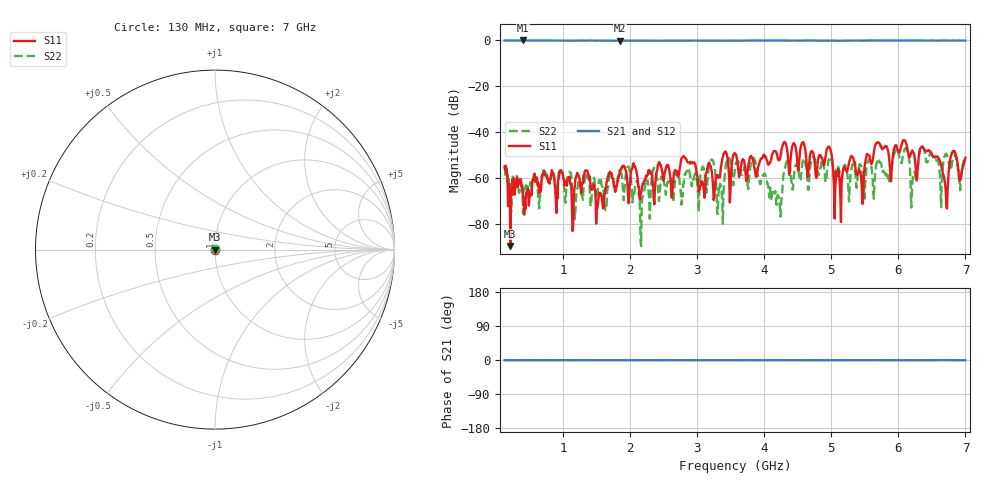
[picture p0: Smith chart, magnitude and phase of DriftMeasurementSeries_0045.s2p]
# Hz S RI R 50.000000
! Metas.Vna.Tools, 2.8.8664.20301
! Metas.Vna.Data, 2.8.8664.20285
! Created: UTC 2024.02.11 10:08:22
! FREQ  re:S1,1  im:S1,1  re:S2,1  im:S2,1  re:S1,2  im:S1,2  re:S2,2  im:S2,2
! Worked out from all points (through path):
!   801 points, 130 MHz to 7 GHz, reference 50 ohm
!   highest |S21| = -0.04 dB at 404.8 MHz (marker M1); lowest = -0.2 dB at 1.847 GHz (marker M2)
!   lowest |S11| = -89.4 dB at 215.9 MHz (marker M3), VSWR 1.00, Z = 50 - j0.00137 ohm
!   |S11| at or under -10 dB: start of sweep to end of sweep
!   |S22| runs from -89.5 to -45.6 dB; largest |S21 - S12| = 0.019
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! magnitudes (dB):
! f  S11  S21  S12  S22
! 130 MHz  -54.8  -0.1  0.0  -55.1
! 215.9 MHz  -89.4  -0.1  0.0  -62.5
! 404.8 MHz  -69.1  0.0  0.0  -75.1
! 1.281 GHz  -62.9  -0.1  0.0  -67.1
! 1.521 GHz  -71.6  -0.1  0.0  -64.7
! 1.847 GHz  -56.4  -0.2  0.0  -57.3
! 2.423 GHz  -53.8  -0.1  0.0  -67.1
! 3.084 GHz  -62.0  -0.1  0.0  -54.9
! 3.35 GHz  -56.2  -0.1  0.0  -63.5
! 3.565 GHz  -49.1  -0.1  0.0  -55.6
! 3.848 GHz  -54.9  -0.1  0.0  -51.1
! 4.218 GHz  -52.1  -0.1  0.0  -68.6
! 4.338 GHz  -46.7  -0.1  0.0  -52.6
! 4.716 GHz  -48.2  -0.1  0.0  -51.2
! 5.128 GHz  -62.7  -0.2  0.0  -58.7
! 5.858 GHz  -49.8  -0.1  0.0  -59.1
! 6.115 GHz  -44.6  -0.1  0.0  -47.1
! 6.219 GHz  -48.5  -0.1  0.0  -59.1
! 6.373 GHz  -46.7  -0.1  0.0  -46.9
! 6.708 GHz  -66.1  -0.1  0.0  -49.3
! 6.811 GHz  -48.3  -0.1  0.0  -52.0
! 7 GHz  -51.0  -0.1  0.0  -52.2
